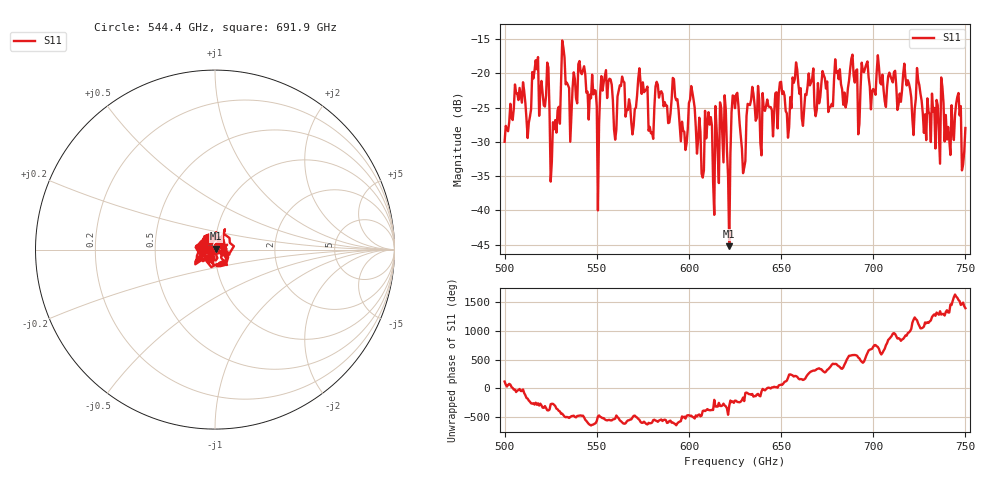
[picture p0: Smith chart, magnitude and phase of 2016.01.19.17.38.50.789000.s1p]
!Created with skrf (http://scikit-rf.org).
# GHz S RI R 50.0
!freq ReS11 ImS11
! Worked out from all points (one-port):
!   401 points, 500 GHz to 750 GHz, reference 50 ohm
!   lowest |S11| = -45.2 dB at 621.9 GHz (marker M1), VSWR 1.01, Z = 50.3 + j0.451 ohm
!   |S11| at or under -10 dB: start of sweep to end of sweep
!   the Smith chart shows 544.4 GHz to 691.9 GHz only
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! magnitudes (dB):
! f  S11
! 500 GHz  -30.0
! 506.9 GHz  -22.9
! 513.1 GHz  -27.2
! 516.9 GHz  -18.1
! 526.2 GHz  -27.1
! 531.2 GHz  -15.2
! 541.9 GHz  -20.1
! 550.6 GHz  -40.0
! 553.8 GHz  -21.4
! 560 GHz  -29.7
! 562.5 GHz  -21.8
! 570 GHz  -27.7
! 573.8 GHz  -21.3
! 579.4 GHz  -28.7
! 583.1 GHz  -21.7
! 593.8 GHz  -23.8
! 598.1 GHz  -31.2
! 601.9 GHz  -22.8
! 606.9 GHz  -34.7
! 618.1 GHz  -28.8
! 621.9 GHz  -45.2
! 625 GHz  -25.1
! 629.4 GHz  -34.6
! 633.8 GHz  -23.9
! 656.2 GHz  -20.6
! 687.5 GHz  -19.3
! 718.8 GHz  -21.0
! 750 GHz  -28.0
